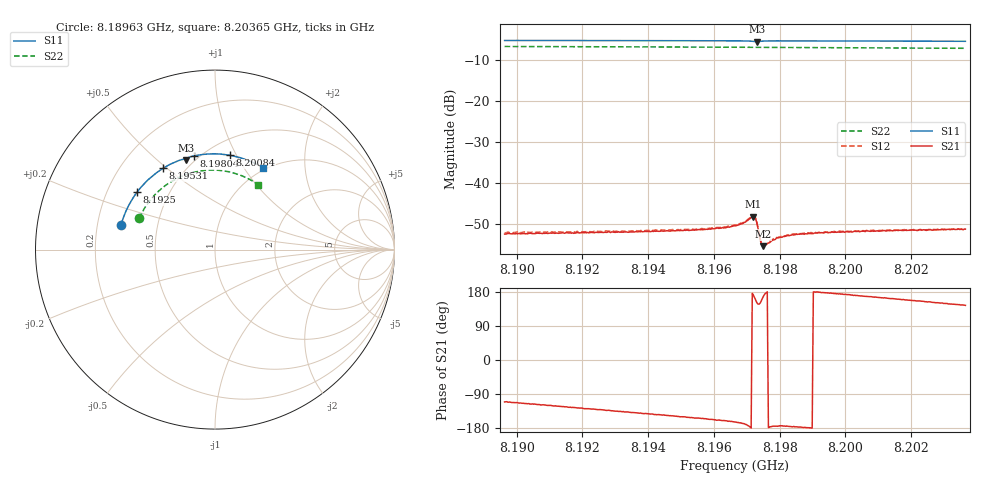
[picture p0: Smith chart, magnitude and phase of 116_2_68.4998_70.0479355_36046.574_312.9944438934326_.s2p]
#  HZ  S  RI  R  50.00
! Rohde & Schwarz Vector Network Analyzer
! Rohde-Schwarz,ZNB20-2Port,1311601062101988,3.16
! Created: UTC 3/20/2024, 5:08:55 PM
! freq[Hz]  re:S11  im:S11  re:S21  im:S21  re:S12  im:S12  re:S22  im:S22
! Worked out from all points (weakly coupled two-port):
!   401 points, 8.18963 GHz to 8.20365 GHz, reference 50 ohm
!   highest |S21| = -48.20 dB at 8.1972 GHz (marker M1); lowest = -55.4 dB at 8.19748 GHz (marker M2)
!   lowest |S11| = -5.6 dB at 8.1973 GHz (marker M3), VSWR 3.19, Z = 22.8 + j31.2 ohm
!   |S11| at or under -10 dB: nowhere
!   |S22| runs from -7.3 to -6.8 dB; largest |S21 - S12| = 0.0002
!   S11 on the Smith chart (normalised r, x): 8.18963 GHz: 0.30, +0.12; 8.1925 GHz: 0.33, +0.30; 8.19531 GHz: 0.38, +0.48; 8.19804 GHz: 0.47, +0.69; 8.20084 GHz: 0.64, +0.94; 8.20365 GHz: 0.97, +1.22
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8.189632e9  -0.5226 0.1396  -0.000843 -0.00223  -0.000901 -0.00231  -0.4227 0.1733
8.191979e9  -0.4557 0.2893  -0.00148 -0.00198  -0.00159 -0.00198  -0.3543 0.284
8.192505e9  -0.4345 0.3197  -0.00163 -0.00188  -0.00171 -0.00189  -0.3346 0.3059
8.194327e9  -0.3462 0.4121  -0.00208 -0.00151  -0.0022 -0.00148  -0.2565 0.3707
8.195308e9  -0.29 0.4526  -0.00233 -0.00125  -0.00245 -0.00119  -0.2088 0.398
8.196289e9  -0.2283 0.4854  -0.00265 -0.00098  -0.00276 -0.00087  -0.1578 0.419
8.196639e9  -0.2048 0.4951  -0.00287 -0.000845  -0.00297 -0.000779  -0.1392 0.4251
8.196884e9  -0.187 0.501  -0.00314 -0.000694  -0.00324 -0.000569  -0.1258 0.4287
8.19713e9  -0.1671 0.503  -0.00378 -2.94e-05  -0.00383 0.000129  -0.1123 0.432
8.1972e9  -0.1619 0.5009  -0.00384 0.0006  -0.00391 0.000784  -0.1083 0.4328
8.19727e9  -0.1601 0.4977  -0.00334 0.00139  -0.00337 0.00155  -0.1047 0.4335
8.197305e9  -0.1608 0.4973  -0.00284 0.00157  -0.00283 0.00172  -0.1028 0.4339
8.19741e9  -0.1606 0.5031  -0.00174 0.000972  -0.00175 0.00107  -0.0971 0.435
8.19748e9  -0.1567 0.5075  -0.00163 0.000466  -0.00166 0.000554  -0.0933 0.436
8.197585e9  -0.1489 0.5121  -0.00175 9.07e-05  -0.00179 0.000176  -0.0874 0.4369
8.197795e9  -0.1333 0.5177  -0.002 -0.000186  -0.00207 -9.34e-05  -0.0756 0.4389
8.198041e9  -0.1156 0.5222  -0.00216 -0.000237  -0.00222 -0.000167  -0.0618 0.4406
8.198566e9  -0.0782 0.5288  -0.00237 -0.000131  -0.00239 -3.22e-05  -0.0321 0.4428
8.198987e9  -0.0482 0.532  -0.00241 -1.45e-05  -0.00246 7.72e-05  -0.00825 0.4432
8.200844e9  0.0828 0.5256  -0.0025 0.000616  -0.00256 0.000737  0.0965 0.429
8.201334e9  0.1167 0.5186  -0.00248 0.000796  -0.0025 0.000917  0.1232 0.421
8.203646e9  0.2671 0.4557  -0.00222 0.0016  -0.00217 0.00168  0.2414 0.3608
